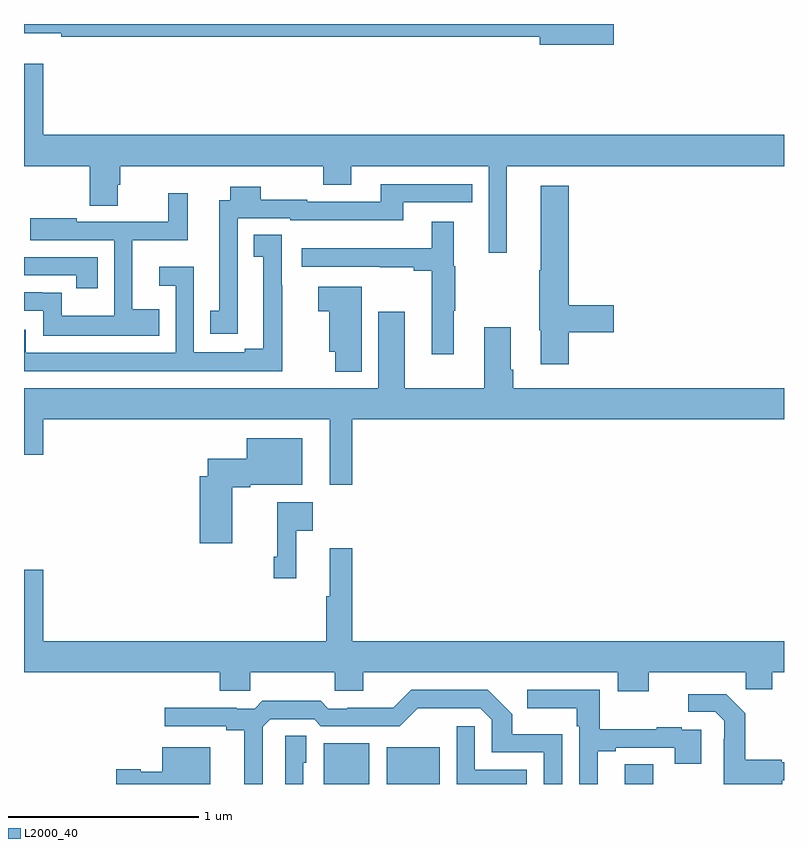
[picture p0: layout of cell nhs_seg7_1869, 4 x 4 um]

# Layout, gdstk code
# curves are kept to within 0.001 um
import gdstk
lib = gdstk.Library(unit=1e-6, precision=1e-09)
def R(c, l, rs):  # rectangles x0, y0, x1, y1
    for r in rs: c.add(gdstk.rectangle(r[:2], r[2:], *l))
def P(c, l, *ps):  # polygons
    for p in ps: c.add(gdstk.Polygon(p, *l))
L2000_40 = (2000, 40)

nhs_seg7_1869 = lib.new_cell('nhs_seg7_1869')
R(nhs_seg7_1869, L2000_40, [(238.577,1028,238.816,1028.215), (238.91,1028,239.188,1028.194), (240.161,1028,240.313,1028.105)])
P(nhs_seg7_1869, L2000_40, [(240.103,1032),(237,1032),(237,1031.951),(237.196,1031.951),(237.196,1031.932),(239.714,1031.932),(239.714,1031.89),(240.103,1031.89)],
  [(239.542,1031.252),(241,1031.252),(241,1031.416),(237.1,1031.416),(237.1,1031.791),(237,1031.791),(237,1031.252),(237.346,1031.252),(237.346,1031.044),(237.493,1031.044),(237.493,1031.154),(237.506,1031.154),(237.506,1031.252),(238.576,1031.252),(238.576,1031.153),(238.723,1031.153),(238.723,1031.252),(239.445,1031.252),(239.445,1030.797),(239.542,1030.797)],
  [(238.126,1030.694),(238.125,1030.694),(238.125,1030.977),(238.401,1030.977),(238.401,1030.967),(238.996,1030.967),(238.996,1031.061),(239.36,1031.061),(239.36,1031.157),(238.877,1031.157),(238.877,1031.064),(238.491,1031.064),(238.491,1031.074),(238.245,1031.074),(238.245,1031.143),(238.085,1031.143),(238.085,1031.073),(238.028,1031.073),(238.028,1030.491),(237.979,1030.491),(237.979,1030.371),(238.126,1030.371)],
  [(239.867,1030.378),(240.103,1030.378),(240.103,1030.52),(239.867,1030.52),(239.867,1031.149),(239.72,1031.149),(239.72,1030.703),(239.713,1030.703),(239.713,1030.389),(239.72,1030.389),(239.72,1030.209),(239.867,1030.209)],
  [(237.713,1030.498),(237.571,1030.498),(237.571,1030.862),(237.862,1030.862),(237.862,1031.11),(237.76,1031.11),(237.76,1030.959),(237.277,1030.959),(237.277,1030.978),(237.033,1030.978),(237.033,1030.863),(237.474,1030.863),(237.474,1030.465),(237.198,1030.465),(237.198,1030.586),(237.095,1030.586),(237.095,1030.587),(237,1030.587),(237,1030.491),(237.102,1030.491),(237.102,1030.358),(237.713,1030.358)],
  [(239.263,1030.492),(239.271,1030.492),(239.271,1030.725),(239.263,1030.725),(239.263,1030.96),(239.147,1030.96),(239.147,1030.819),(238.461,1030.819),(238.461,1030.722),(238.873,1030.722),(238.873,1030.72),(239.051,1030.72),(239.051,1030.702),(239.147,1030.702),(239.147,1030.263),(239.263,1030.263)],
  [(238.359,1030.625),(238.356,1030.625),(238.356,1030.892),(238.21,1030.892),(238.21,1030.774),(238.259,1030.774),(238.259,1030.291),(238.163,1030.291),(238.163,1030.273),(237.894,1030.273),(237.894,1030.723),(237.711,1030.723),(237.711,1030.622),(237.798,1030.622),(237.798,1030.269),(237.009,1030.269),(237.009,1030.392),(237,1030.392),(237,1030.173),(237.901,1030.173),(237.901,1030.172),(238.359,1030.172)],
  [(237.389,1030.773),(237,1030.773),(237,1030.677),(237.276,1030.677),(237.276,1030.608),(237.389,1030.608)],
  [(238.777,1030.618),(238.548,1030.618),(238.548,1030.489),(238.607,1030.489),(238.607,1030.274),(238.637,1030.274),(238.637,1030.169),(238.777,1030.169)],
  [(238.727,1029.92),(241,1029.92),(241,1030.084),(239.576,1030.084),(239.576,1030.18),(239.563,1030.18),(239.563,1030.405),(239.423,1030.405),(239.423,1030.084),(239.005,1030.084),(239.005,1030.486),(238.865,1030.486),(238.865,1030.084),(237,1030.084),(237,1029.732),(237.1,1029.732),(237.1,1029.92),(238.61,1029.92),(238.61,1029.576),(238.727,1029.576)],
  [(238.096,1029.563),(238.192,1029.563),(238.192,1029.575),(238.465,1029.575),(238.465,1029.82),(238.172,1029.82),(238.172,1029.712),(237.968,1029.712),(237.968,1029.619),(237.926,1029.619),(237.926,1029.267),(238.096,1029.267)],
  [(238.433,1029.332),(238.519,1029.332),(238.519,1029.484),(238.333,1029.484),(238.333,1029.196),(238.315,1029.196),(238.315,1029.084),(238.433,1029.084)],
  [(240.289,1028.588),(240.799,1028.588),(240.799,1028.498),(240.937,1028.498),(240.937,1028.588),(241,1028.588),(241,1028.752),(238.727,1028.752),(238.727,1029.241),(238.61,1029.241),(238.61,1028.988),(238.591,1028.988),(238.591,1028.752),(237.1,1028.752),(237.1,1029.127),(237,1029.127),(237,1028.588),(238.031,1028.588),(238.031,1028.49),(238.191,1028.49),(238.191,1028.588),(238.636,1028.588),(238.636,1028.49),(238.786,1028.49),(238.786,1028.588),(240.125,1028.588),(240.125,1028.489),(240.289,1028.489)],
  [(240.019,1028.172),(240.115,1028.172),(240.115,1028.19),(240.425,1028.19),(240.425,1028.106),(240.565,1028.106),(240.565,1028.286),(240.461,1028.286),(240.461,1028.299),(240.329,1028.299),(240.329,1028.288),(240.031,1028.288),(240.031,1028.496),(239.649,1028.496),(239.649,1028.399),(239.91,1028.399),(239.91,1028.303),(239.922,1028.303),(239.922,1028),(240.019,1028)],
  [(238.257,1028.301),(238.296,1028.34),(238.527,1028.34),(238.563,1028.304),(238.977,1028.304),(239.072,1028.399),(239.4,1028.4),(239.463,1028.337),(239.463,1028.166),(239.736,1028.166),(239.736,1028),(239.832,1028),(239.832,1028.263),(239.571,1028.263),(239.571,1028.366),(239.44,1028.496),(239.037,1028.496),(238.943,1028.402),(238.702,1028.402),(238.702,1028.397),(238.602,1028.397),(238.563,1028.437),(238.255,1028.437),(238.215,1028.397),(238.121,1028.397),(238.121,1028.402),(237.741,1028.402),(237.741,1028.304),(238.064,1028.304),(238.064,1028.282),(238.16,1028.282),(238.16,1028),(238.257,1028)],
  [(240.991,1028.019),(241,1028.019),(241,1028.115),(240.987,1028.115),(240.987,1028.128),(240.795,1028.128),(240.795,1028.373),(240.695,1028.473),(240.495,1028.473),(240.495,1028.379),(240.639,1028.379),(240.686,1028.332),(240.686,1028.237),(240.684,1028.237),(240.684,1028),(240.991,1028)],
  [(239.646,1028.076),(239.373,1028.076),(239.373,1028.305),(239.277,1028.305),(239.277,1028),(239.646,1028)],
  [(238.47,1028.112),(238.486,1028.112),(238.486,1028.255),(238.374,1028.255),(238.374,1028),(238.47,1028)],
  [(237.979,1028.194),(237.728,1028.194),(237.728,1028.065),(237.615,1028.065),(237.615,1028.078),(237.486,1028.078),(237.486,1028),(237.979,1028)])

lib.write_gds('nhs_seg7_1869.gds')
